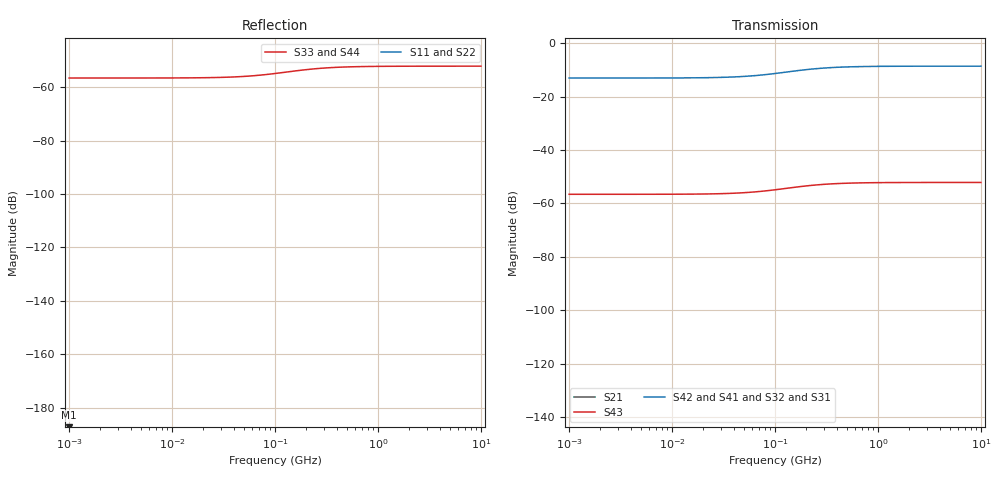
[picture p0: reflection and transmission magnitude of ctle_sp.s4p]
!ctle_sp, transistor level
!ports from /home/vraje/spice2rnm-demos-wave/netlists/ctle_sp_ports.json, sweep from the default
!limits from ctle_sp_spec.md:23
! ports: 1=inp (50 ohm)  2=inn (50 ohm)  3=outp (1000 ohm)  4=outn (1000 ohm)
! measured by ngspice .sp analysis
! port_map  /home/vraje/spice2rnm-demos-wave/netlists/ctle_sp_ports.json
! bias  natural
! sweep  1e+06 to 1e+10 Hz, 20 per decade
! tool  0.2.0 git 067f697
[Version] 2.0
# HZ S RI R 50
[Number of Ports] 4
[Reference] 50 50 1000 1000
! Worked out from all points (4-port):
!   81 points, 1 MHz to 10 GHz, reference per port
!   strongest paths, dB at 1 MHz, 10 MHz, 100 MHz, 1 GHz, 10 GHz:
!     S42: -13.0, -13.0, -11.3, -8.7, -8.6
!     S41: -13.0, -13.0, -11.3, -8.7, -8.6
!     S32: -13.0, -13.0, -11.3, -8.7, -8.6
!     S31: -13.0, -13.0, -11.3, -8.7, -8.6
!     S43: -56.6, -56.5, -54.9, -52.2, -52.1
!     S21: -, -, -, -, -
!   lowest |S11| = - dB at 1 MHz (marker M1), VSWR 1.00
!   |S11| at or under -10 dB: start of sweep to end of sweep
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[Number of Frequencies] 7
[Network Data]
1000000  0 0  0 0  0 0  0 0
         0 0  0 0  0 0  0 0
         -0.2232 -0.000897  0.2232 0.000897  -0.00148 -5.97e-06  0.00148 5.97e-06
         0.2232 0.000897  -0.2232 -0.000897  0.00148 5.97e-06  -0.00148 -5.97e-06
3.162278e7  0 0  0 0  0 0  0 0
            0 0  0 0  0 0  0 0
            -0.2284 -0.0274  0.2284 0.0274  -0.00152 -0.000182  0.00152 0.000182
            0.2284 0.0274  -0.2284 -0.0274  0.00152 0.000182  -0.00152 -0.000182
7.079458e7  0 0  0 0  0 0  0 0
            0 0  0 0  0 0  0 0
            -0.2462 -0.0537  0.2462 0.0537  -0.00164 -0.000357  0.00164 0.000357
            0.2462 0.0537  -0.2462 -0.0537  0.00164 0.000357  -0.00164 -0.000357
1.584893e8  0 0  0 0  0 0  0 0
            0 0  0 0  0 0  0 0
            -0.2942 -0.0743  0.2942 0.0743  -0.00196 -0.000494  0.00196 0.000494
            0.2942 0.0743  -0.2942 -0.0743  0.00196 0.000494  -0.00196 -0.000494
2.818383e8  0 0  0 0  0 0  0 0
            0 0  0 0  0 0  0 0
            -0.3337 -0.065  0.3337 0.065  -0.00222 -0.000432  0.00222 0.000432
            0.3337 0.065  -0.3337 -0.065  0.00222 0.000432  -0.00222 -0.000432
5.623413e8  0 0  0 0  0 0  0 0
            0 0  0 0  0 0  0 0
            -0.3601 -0.0403  0.3601 0.0403  -0.00239 -0.000268  0.00239 0.000268
            0.3601 0.0403  -0.3601 -0.0403  0.00239 0.000268  -0.00239 -0.000268
1e10  0 0  0 0  0 0  0 0
      0 0  0 0  0 0  0 0
      -0.3719 -0.00246  0.3719 0.00246  -0.00247 -1.64e-05  0.00247 1.64e-05
      0.3719 0.00246  -0.3719 -0.00246  0.00247 1.64e-05  -0.00247 -1.64e-05
[End]
